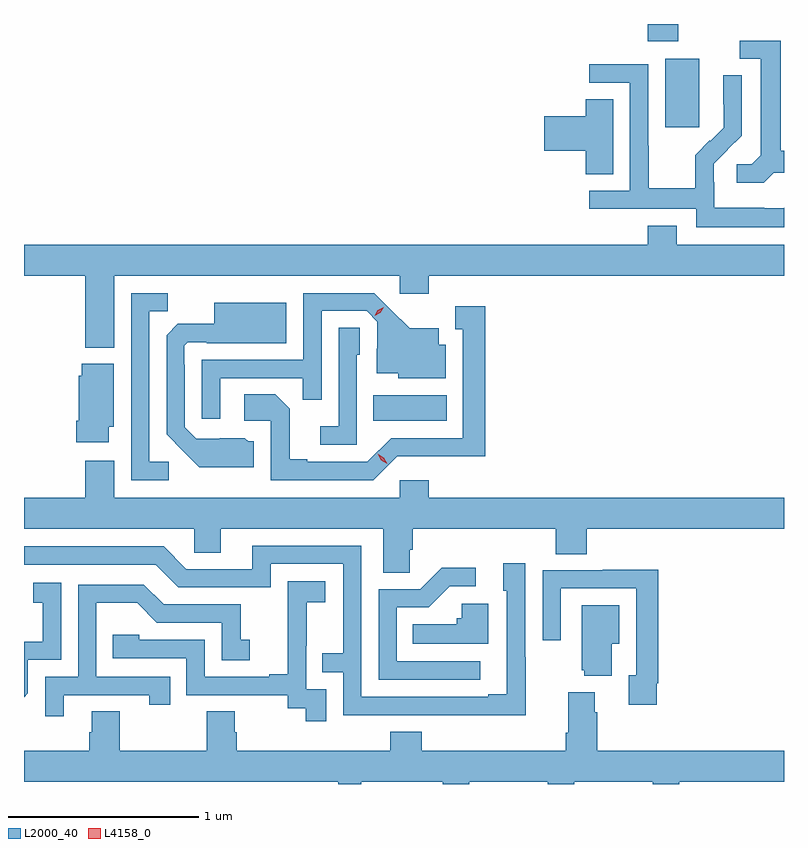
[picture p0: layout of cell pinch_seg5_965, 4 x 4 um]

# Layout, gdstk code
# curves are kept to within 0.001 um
import gdstk
lib = gdstk.Library(unit=1e-6, precision=1e-09)
def R(c, l, rs):  # rectangles x0, y0, x1, y1
    for r in rs: c.add(gdstk.rectangle(r[:2], r[2:], *l))
def P(c, l, *ps):  # polygons
    for p in ps: c.add(gdstk.Polygon(p, *l))
L2000_40 = (2000, 40)
L4158_0 = (4158, 0)

pinch_seg5_965 = lib.new_cell('pinch_seg5_965')
R(pinch_seg5_965, L2000_40, [(710.572,881.306,710.959,881.44), (712.109,882.849,712.288,883.21), (712.019,883.301,712.179,883.393)])
P(pinch_seg5_965, L2000_40, [(712.68,882.609),(712.735,882.609),(712.735,882.725),(712.717,882.725),(712.717,883.305),(712.503,883.305),(712.503,883.209),(712.613,883.209),(712.613,882.701),(712.566,882.654),(712.485,882.654),(712.485,882.557),(712.628,882.557)],
  [(712.735,882.427),(712.731,882.423),(712.631,882.423),(712.631,882.427),(712.368,882.427),(712.368,882.561),(712.366,882.561),(712.366,882.658),(712.512,882.806),(712.512,883.124),(712.416,883.124),(712.416,882.97),(712.418,882.97),(712.418,882.848),(712.347,882.777),(712.344,882.78),(712.267,882.703),(712.267,882.529),(712.023,882.529),(712.023,882.752),(712.02,882.752),(712.02,883.182),(711.711,883.182),(711.711,883.083),(711.924,883.083),(711.924,882.516),(711.711,882.516),(711.711,882.42),(712.272,882.42),(712.272,882.323),(712.735,882.323)],
  [(711.835,882.998),(711.692,882.998),(711.692,882.908),(711.474,882.908),(711.474,882.725),(711.692,882.725),(711.692,882.601),(711.835,882.601)],
  [(709.21,882.068),(710.712,882.068),(710.712,881.973),(710.864,881.973),(710.864,882.068),(712.735,882.068),(712.735,882.232),(712.171,882.232),(712.171,882.331),(712.019,882.331),(712.019,882.232),(708.735,882.232),(708.735,882.068),(709.058,882.068),(709.058,881.69),(709.21,881.69)],
  [(709.767,881.529),(710.203,881.529),(710.203,881.416),(710.301,881.416),(710.301,881.883),(710.538,881.883),(710.595,881.826),(710.595,881.684),(710.591,881.684),(710.591,881.555),(710.706,881.555),(710.706,881.528),(710.956,881.528),(710.956,881.704),(710.917,881.704),(710.917,881.791),(710.765,881.791),(710.578,881.976),(710.205,881.976),(710.205,881.625),(709.671,881.625),(709.671,881.316),(709.767,881.316)],
  [(709.498,881.088),(709.395,881.088),(709.395,881.881),(709.491,881.881),(709.491,881.976),(709.299,881.976),(709.299,880.992),(709.498,880.992)],
  [(709.945,881.196),(709.914,881.196),(709.898,881.212),(709.641,881.211),(709.581,881.271),(709.581,881.6),(709.578,881.6),(709.578,881.7),(709.596,881.718),(709.696,881.718),(709.696,881.714),(710.116,881.714),(710.116,881.926),(709.736,881.926),(709.736,881.815),(709.544,881.815),(709.485,881.756),(709.485,881.234),(709.657,881.06),(709.945,881.06)],
  [(710.7,881.118),(711.163,881.117),(711.163,881.908),(711.005,881.908),(711.005,881.787),(711.044,881.787),(711.044,881.214),(710.667,881.214),(710.541,881.088),(710.227,881.088),(710.227,881.101),(710.133,881.101),(710.133,881.368),(710.057,881.444),(709.893,881.444),(709.893,881.304),(710.034,881.304),(710.034,880.992),(710.574,880.992)],
  [(710.487,881.652),(710.502,881.652),(710.502,881.795),(710.391,881.795),(710.391,881.275),(710.295,881.275),(710.295,881.178),(710.487,881.178)],
  [(709.18,881.274),(709.207,881.274),(709.207,881.605),(709.04,881.605),(709.04,881.541),(709.022,881.541),(709.022,881.305),(709.01,881.305),(709.01,881.193),(709.18,881.193)],
  [(710.766,880.627),(710.78,880.627),(710.78,880.736),(711.533,880.736),(711.533,880.603),(711.698,880.603),(711.698,880.736),(712.735,880.736),(712.735,880.9),(710.864,880.9),(710.864,880.993),(710.712,880.993),(710.712,880.9),(709.21,880.9),(709.21,881.095),(709.058,881.095),(709.058,880.9),(708.735,880.9),(708.735,880.736),(709.632,880.736),(709.632,880.609),(709.771,880.609),(709.771,880.736),(710.627,880.736),(710.627,880.504),(710.766,880.504)],
  [(711.375,880.061),(711.372,880.061),(711.372,880.555),(711.257,880.555),(711.257,880.41),(711.276,880.41),(711.276,879.865),(711.179,879.865),(711.179,879.852),(710.511,879.852),(710.511,880.647),(709.937,880.647),(709.937,880.524),(709.59,880.524),(709.47,880.644),(708.735,880.644),(708.735,880.548),(709.428,880.548),(709.548,880.428),(710.034,880.428),(710.034,880.551),(710.415,880.551),(710.415,880.082),(710.305,880.082),(710.305,879.981),(710.415,879.981),(710.415,879.756),(711.375,879.755)],
  [(711.136,880.038),(710.697,880.038),(710.697,880.323),(710.866,880.323),(710.977,880.434),(711.112,880.434),(711.112,880.532),(710.933,880.532),(710.82,880.419),(710.601,880.419),(710.601,879.942),(711.136,879.942)],
  [(712.066,879.922),(712.073,879.922),(712.073,880.52),(711.781,880.52),(711.781,880.518),(711.465,880.518),(711.465,880.149),(711.561,880.149),(711.561,880.422),(711.957,880.422),(711.957,879.966),(711.917,879.966),(711.917,879.81),(712.066,879.81)],
  [(710.325,879.891),(710.22,879.891),(710.22,880.121),(710.222,880.121),(710.222,880.349),(710.32,880.349),(710.32,880.459),(710.122,880.459),(710.122,880.253),(710.123,880.253),(710.123,879.97),(710.027,879.97),(710.027,879.957),(709.686,879.957),(709.686,880.152),(709.341,880.152),(709.341,880.179),(709.201,880.179),(709.201,880.056),(709.59,880.056),(709.59,879.861),(710.124,879.861),(710.124,879.793),(710.217,879.793),(710.217,879.723),(710.325,879.723)],
  [(708.756,879.87),(708.756,880.047),(708.93,880.047),(708.93,880.453),(708.784,880.453),(708.784,880.347),(708.833,880.347),(708.833,880.143),(708.735,880.143),(708.735,879.849)],
  [(708.943,879.861),(709.394,879.861),(709.394,879.81),(709.505,879.81),(709.505,879.957),(709.116,879.957),(709.116,880.346),(709.33,880.346),(709.434,880.242),(709.776,880.242),(709.776,880.044),(709.924,880.044),(709.924,880.153),(709.875,880.153),(709.875,880.338),(709.471,880.338),(709.366,880.443),(709.02,880.443),(709.02,879.957),(708.846,879.957),(708.846,879.75),(708.943,879.75)],
  [(711.178,880.342),(711.039,880.342),(711.039,880.266),(711.013,880.266),(711.013,880.234),(710.782,880.234),(710.782,880.13),(711.178,880.13)],
  [(711.829,880.13),(711.868,880.13),(711.868,880.333),(711.671,880.333),(711.671,879.993),(711.683,879.993),(711.683,879.962),(711.829,879.962)],
  [(710.509,879.404),(710.939,879.404),(710.939,879.393),(711.079,879.393),(711.079,879.404),(711.491,879.404),(711.491,879.393),(711.631,879.393),(711.631,879.404),(712.043,879.404),(712.043,879.393),(712.183,879.393),(712.183,879.404),(712.735,879.404),(712.735,879.568),(711.752,879.568),(711.752,879.77),(711.739,879.77),(711.739,879.877),(711.599,879.877),(711.599,879.664),(711.587,879.664),(711.587,879.568),(710.828,879.568),(710.828,879.667),(710.663,879.667),(710.663,879.568),(709.856,879.568),(709.856,879.666),(709.843,879.666),(709.843,879.776),(709.696,879.776),(709.696,879.568),(709.239,879.568),(709.239,879.776),(709.091,879.776),(709.091,879.666),(709.079,879.666),(709.079,879.568),(708.735,879.568),(708.735,879.404),(710.388,879.404),(710.388,879.393),(710.509,879.393)])
P(pinch_seg5_965, L4158_0, [(710.646,881.078),(710.614,881.098),(710.597,881.13),(710.597,881.131),(710.598,881.131),(710.629,881.111),(710.646,881.079),(710.646,881.078)],
  [(710.581,881.857),(710.581,881.857),(710.598,881.887),(710.628,881.902),(710.628,881.902),(710.628,881.902),(710.611,881.872),(710.581,881.857)])

lib.write_gds('pinch_seg5_965.gds')
